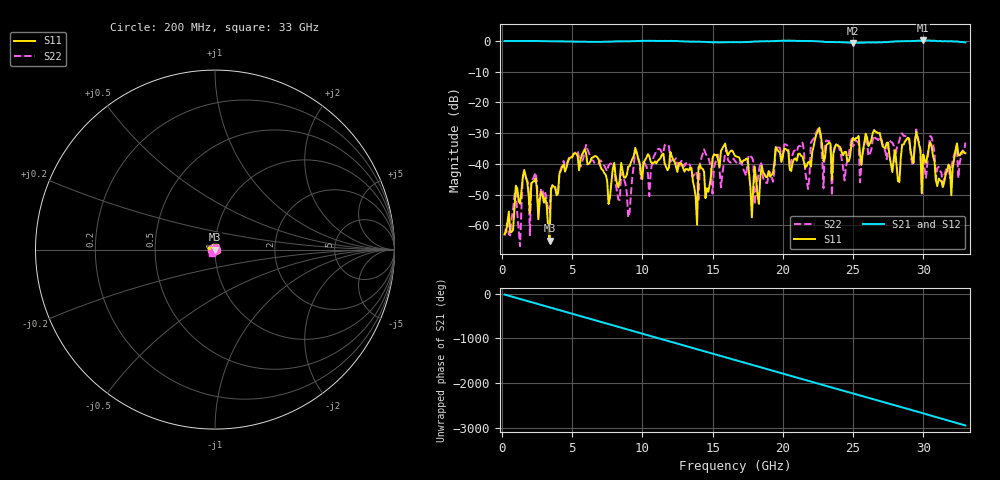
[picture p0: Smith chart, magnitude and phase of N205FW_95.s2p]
# GHZ S RI R 50
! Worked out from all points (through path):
!   329 points, 200 MHz to 33 GHz, reference 50 ohm
!   highest |S21| = 0.18 dB at 30 GHz (marker M1); lowest = -0.6 dB at 25 GHz (marker M2)
!   group delay of S21, straight-line fit = 248 ps
!   lowest |S11| = -65.1 dB at 3.4 GHz (marker M3), VSWR 1.00, Z = 50 + j0.0428 ohm
!   |S11| at or under -10 dB: start of sweep to end of sweep
!   |S22| runs from -66.8 to -28.5 dB; largest |S21 - S12| = 0.0022
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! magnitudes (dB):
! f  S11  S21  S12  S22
! 200 MHz  -62.9  0.0  0.0  -63.4
! 1 GHz  -47.1  0.0  0.0  -48.5
! 1.3 GHz  -53.0  0.0  0.0  -66.8
! 1.6 GHz  -42.0  0.0  0.0  -43.0
! 2 GHz  -56.1  0.0  0.0  -63.2
! 2.4 GHz  -44.7  0.0  0.0  -42.9
! 3.4 GHz  -65.1  -0.1  -0.1  -55.8
! 3.6 GHz  -46.9  -0.1  -0.1  -47.2
! 5.7 GHz  -37.1  -0.2  -0.2  -39.5
! 9 GHz  -40.9  -0.1  -0.1  -57.4
! 9.5 GHz  -34.8  0.0  0.0  -35.6
! 11.2 GHz  -38.6  0.0  0.0  -35.1
! 13.9 GHz  -59.8  -0.3  -0.3  -43.3
! 14 GHz  -41.1  -0.2  -0.2  -52.3
! 16.6 GHz  -37.4  -0.4  -0.4  -39.1
! 17.8 GHz  -57.4  -0.2  -0.2  -37.9
! 22.1 GHz  -36.2  0.0  0.0  -32.3
! 23.5 GHz  -45.2  -0.4  -0.4  -50.3
! 25 GHz  -31.6  -0.6  -0.6  -34.4
! 27.6 GHz  -37.6  -0.3  -0.3  -32.4
! 30 GHz  -36.9  0.2  0.2  -38.1
! 33 GHz  -36.5  -0.5  -0.5  -33.1
